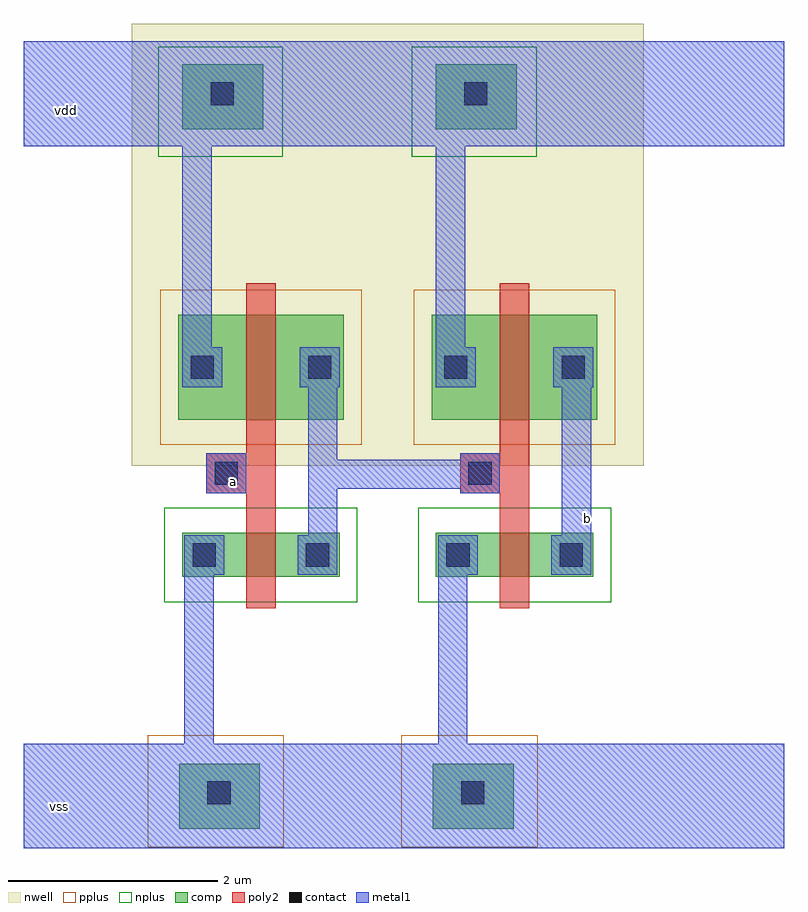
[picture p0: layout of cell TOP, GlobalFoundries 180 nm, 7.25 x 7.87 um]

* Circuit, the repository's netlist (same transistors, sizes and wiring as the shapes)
* cell inv2
* pin a
* pin b
* pin vdd
* pin vss
.SUBCKT inv2 1 2 3 5
* net 1 a
* net 2 b
* net 3 vdd
* net 5 vss
* device instance $1 r0 *1 2.59,0.26 pfet_03v3
M$1 2 4 3 3 pfet_03v3 L=0.28U W=1U AS=0.65P AD=0.65P PS=3.3U PD=3.3U
* device instance $2 r0 *1 -0.4,0.26 pfet_03v3
M$2 4 1 3 3 pfet_03v3 L=0.28U W=1U AS=0.65P AD=0.65P PS=3.3U PD=3.3U
* device instance $3 r0 *1 2.59,-3.3 nfet_03v3
M$3 2 4 5 5 nfet_03v3 L=0.28U W=0.42U AS=0.2646P AD=0.2646P PS=2.1U PD=2.1U
* device instance $4 r0 *1 -0.4,-3.3 nfet_03v3
M$4 4 1 5 5 nfet_03v3 L=0.28U W=0.42U AS=0.2646P AD=0.2646P PS=2.1U PD=2.1U
.ENDS inv2

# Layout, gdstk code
import gdstk
lib = gdstk.Library(unit=1e-6, precision=1e-08)
def R(c, l, rs):  # rectangles x0, y0, x1, y1
    for r in rs: c.add(gdstk.rectangle(r[:2], r[2:], *l))
nwell = (21, 0)
comp = (22, 0)
poly2 = (30, 0)
pplus = (31, 0)
nplus = (32, 0)
contact = (33, 0)
metal1 = (34, 0)

inv = lib.new_cell('inv')
R(inv, nwell, [(-0.9,-2.55,1.56,-0.67), (-0.9,-0.75,1.56,1.67)])
R(inv, comp, [(-0.45,-6.01,0.32,-5.39), (-0.42,-3.61,0,-3.19), (0,-3.61,0.66,-3.19), (0.66,-3.61,1.08,-3.19), (-0.46,-2.11,0,-1.11), (0,-2.11,0.66,-1.11), (0.66,-2.11,1.12,-1.11), (-0.42,0.66,0.35,1.28)])
R(inv, poly2, [(0.19,-3.91,0.47,-2.89), (-0.19,-2.81,0.19,-2.43), (0.19,-2.41,0.47,-0.81)])
R(inv, pplus, [(-0.75,-6.19,0.55,-5.12), (-0.63,-2.35,1.29,-0.87)])
R(inv, nplus, [(-0.59,-3.85,1.25,-2.95), (-0.65,0.4,0.54,1.45)])
R(inv, contact, [(-0.18,-5.78,0.04,-5.56), (-0.32,-3.51,-0.1,-3.29), (0.76,-3.51,0.98,-3.29), (-0.11,-2.73,0.11,-2.51), (-0.34,-1.72,-0.12,-1.5), (0.78,-1.72,1,-1.5), (-0.15,0.89,0.07,1.11)])
R(inv, metal1, [(-0.4,-3.59,-0.02,-3.21), (0.68,-3.59,1.06,-3.21), (-0.19,-2.81,0.19,-2.43), (-0.42,-1.8,-0.04,-1.42), (0.7,-1.8,1.08,-1.42)])
inv.add(gdstk.FlexPath([(0.33,-2.13),(0.33,-3)], 0.28, ends="flush", simple_path=True, layer=30, datatype=0))  # poly2
inv.add(gdstk.FlexPath([(-1.93,1),(2.9,1)], 1, ends="flush", simple_path=True, layer=34, datatype=0))  # metal1
inv.add(gdstk.FlexPath([(-1.93,-5.7),(2.9,-5.7)], 1, ends="flush", simple_path=True, layer=34, datatype=0))  # metal1
inv.add(gdstk.FlexPath([(-0.28,-1.54),(-0.28,0.84)], 0.28, ends="flush", simple_path=True, layer=34, datatype=0))  # metal1
inv.add(gdstk.FlexPath([(-0.26,-3.47),(-0.26,-5.25)], 0.28, ends="flush", simple_path=True, layer=34, datatype=0))  # metal1
inv.add(gdstk.FlexPath([(0.92,-1.74),(0.92,-3.48)], 0.28, ends="flush", simple_path=True, layer=34, datatype=0))  # metal1
inv.add(gdstk.Label('a', (-0.15,-2.76), layer=34, texttype=10))
inv.add(gdstk.Label('vdd', (0.97,0.8), layer=34, texttype=10))
inv.add(gdstk.Label('vss', (1.32,-5.84), layer=34, texttype=10))
inv.add(gdstk.Label('y', (0.93,-2.73), layer=34, texttype=10))

top = lib.new_cell('TOP')
top.add(gdstk.FlexPath([(-1.1,-3.63),(-2.42,-3.63)], 0.28, ends="flush", simple_path=True, layer=34, datatype=0))  # metal1
top.add(gdstk.Reference(inv, (-3.37,-1)))
top.add(gdstk.Reference(inv, (-0.95,-1)))
top.add(gdstk.Label('b', (0.08,-4.05), layer=34, texttype=10))
top.add(gdstk.Label('a', (-3.3,-3.7), layer=34, texttype=10))
top.add(gdstk.Label('vss', (-4.96,-6.8), layer=34, texttype=10))
top.add(gdstk.Label('vdd', (-4.89,-0.16), layer=34, texttype=10))

lib.write_gds('TOP.gds')
